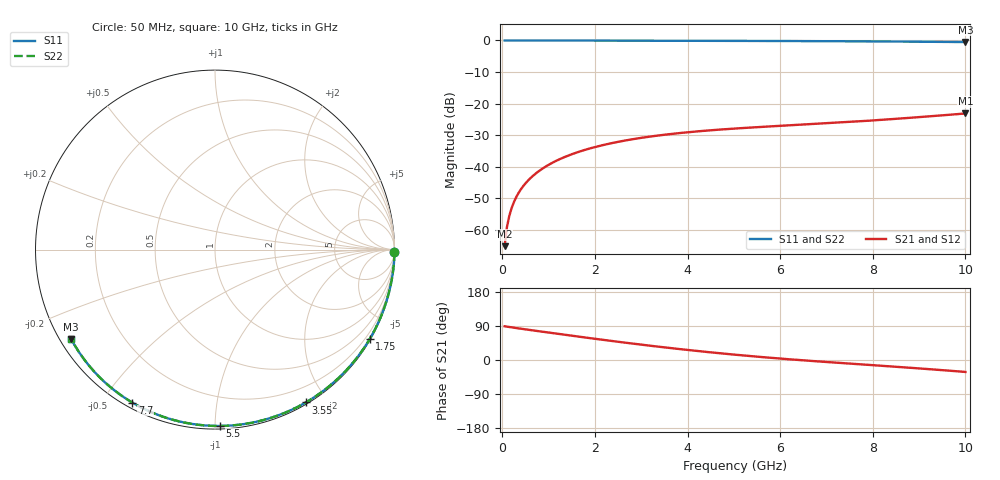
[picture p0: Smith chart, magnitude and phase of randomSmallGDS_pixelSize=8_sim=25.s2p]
! freq	dB(S11)	phase(S11)	dB(S12)	phase(S12)
!  dB(S21)	phase(S21)	dB(S22)	phase(S22)
!S-par simulation data
#  GHz  S  DB  R 50
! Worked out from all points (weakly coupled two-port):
!   200 points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, 50 MHz to 10 GHz, reference 50 ohm
!   highest |S21| = -23.12 dB at 10 GHz (marker M1); lowest = -65.1 dB at 50 MHz (marker M2)
!   lowest |S11| = -0.5 dB at 10 GHz (marker M3), VSWR 34.49, Z = 1.57 - j14.3 ohm
!   |S11| at or under -10 dB: nowhere
!   |S22| runs from -0.5 to 0.0 dB; largest |S21 - S12| = 0
!   S11 on the Smith chart (normalised r, x): 50 MHz: open; 1.75 GHz: 0.03, -3.73; 3.55 GHz: 0.02, -1.76; 5.5 GHz: 0.02, -1.03; 7.7 GHz: 0.02, -0.60; 10 GHz: 0.03, -0.29
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0.05  -0.00 -0.9  -65.12 89.0  -65.12 89.0  -0.00 -0.9
0.1  -0.00 -1.7  -59.11 88.0  -59.11 88.0  -0.00 -1.7
0.15  -0.00 -2.6  -55.60 87.1  -55.60 87.1  -0.00 -2.6
0.2  -0.00 -3.5  -53.12 86.1  -53.12 86.1  -0.00 -3.5
0.25  -0.00 -4.4  -51.19 85.2  -51.19 85.2  -0.00 -4.4
0.35  -0.00 -6.1  -48.30 83.4  -48.30 83.4  -0.00 -6.1
0.5  -0.01 -8.7  -45.25 80.9  -45.25 80.9  -0.01 -8.7
0.7  -0.01 -12.2  -42.38 77.5  -42.38 77.5  -0.01 -12.2
1  -0.02 -17.3  -39.37 72.4  -39.37 72.4  -0.02 -17.3
1.35  -0.03 -23.3  -36.88 66.6  -36.88 66.6  -0.03 -23.3
1.75  -0.04 -30.0  -34.79 60.0  -34.79 60.0  -0.04 -30.0
2.5  -0.06 -42.5  -32.09 48.1  -32.09 48.1  -0.06 -42.4
3.4  -0.08 -56.9  -30.03 34.7  -30.03 34.7  -0.08 -56.9
3.55  -0.08 -59.3  -29.76 32.6  -29.76 32.6  -0.08 -59.2
4.3  -0.10 -70.8  -28.67 22.7  -28.67 22.7  -0.10 -70.7
5.05  -0.13 -81.9  -27.86 13.7  -27.86 13.7  -0.13 -81.8
5.5  -0.15 -88.4  -27.45 8.8  -27.45 8.8  -0.15 -88.3
6.7  -0.21 -105.0  -26.47 -2.7  -26.47 -2.7  -0.21 -104.9
7.7  -0.28 -118.3  -25.61 -11.1  -25.61 -11.1  -0.28 -118.2
8.35  -0.33 -126.8  -24.97 -16.5  -24.97 -16.5  -0.33 -126.7
9.2  -0.41 -137.8  -24.04 -24.0  -24.04 -24.0  -0.41 -137.7
10  -0.50 -148.1  -23.12 -31.5  -23.12 -31.5  -0.50 -148.0
